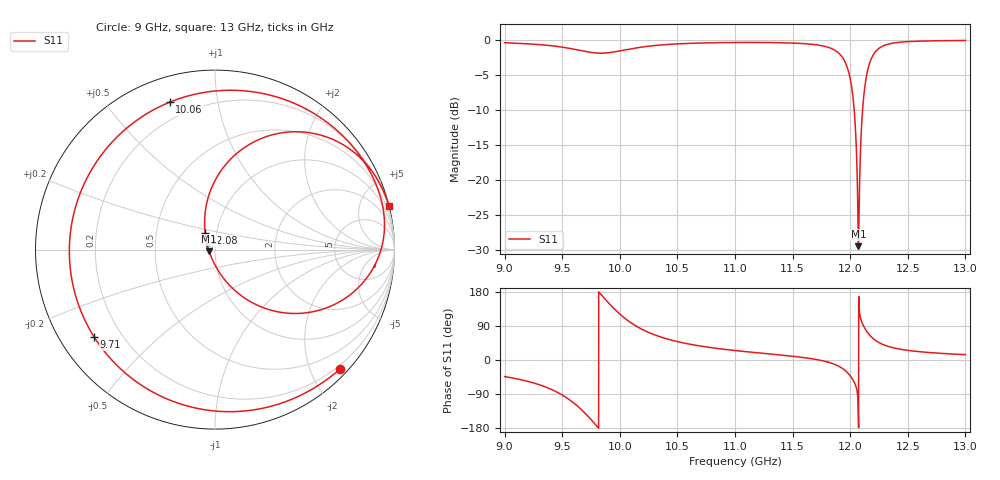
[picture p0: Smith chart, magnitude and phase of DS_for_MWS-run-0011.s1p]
! TOUCHSTONE file generated by CST DESIGN STUDIO
! Date and time: Tue Feb  4 15:38:58 2025
! Project name: C:\Work\MatlabApps\UnitCellOptimizationMatlab\CST\unitcell.cst
! Tree item: Tasks\Sweep1\SPara1\S-Parameters
! Header version: 2024
! Port assignment regex: !\s*Touchstone port\s*([0-9]+)\s*=\s*(CST MWS port|CST DES external port|CST DES block port)\s*(.+)\s* \(\"(.*)\"\)(\s*mode\s*([0-9]+))?.*
! Touchstone port assignment:
! Touchstone port 1 = CST DES external port 1 ("")
# GHz S MA R 50
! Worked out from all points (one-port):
!   4001 points, 9 GHz to 13 GHz, reference 50 ohm
!   lowest |S11| = -29.4 dB at 12.07 GHz (marker M1), VSWR 1.07, Z = 46.9 - j0.917 ohm
!   |S11| at or under -10 dB: 12.03 GHz to 12.11 GHz (72.19 MHz wide, 0.598 % of centre)
!   S11 on the Smith chart (normalised r, x): 9 GHz: 0.13, -2.49; 9.71 GHz: 0.10, -0.32; 10.06 GHz: 0.12, +0.73; 12.08 GHz: 0.88, +0.17; 13 GHz: 0.00, +8.05
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9  0.9638 -43.7
9.281  0.9366 -63.3
9.5  0.8959 -92.4
9.611  0.8628 -116.1
9.71  0.8311 -144.1
9.78  0.8152 -167.3
9.845  0.8112 170.1
9.927  0.8222 142.6
10  0.842 121.1
10.056  0.8593 107.1
10.263  0.9125 71.1
10.5  0.945 48.5
11  0.9672 25.0
11.5  0.958 9.9
11.85  0.8662 -9.8
11.934  0.7542 -22.5
12  0.5327 -41.6
12.033  0.3302 -57.4
12.059  0.1215 -80.7
12.072  0.03377 -163.2
12.083  0.1077 120.6
12.102  0.2738 99.1
12.117  0.3944 89.2
12.174  0.7092 64.0
12.23  0.8497 49.6
12.295  0.9208 39.6
12.5  0.9808 25.4
13  1 14.2
